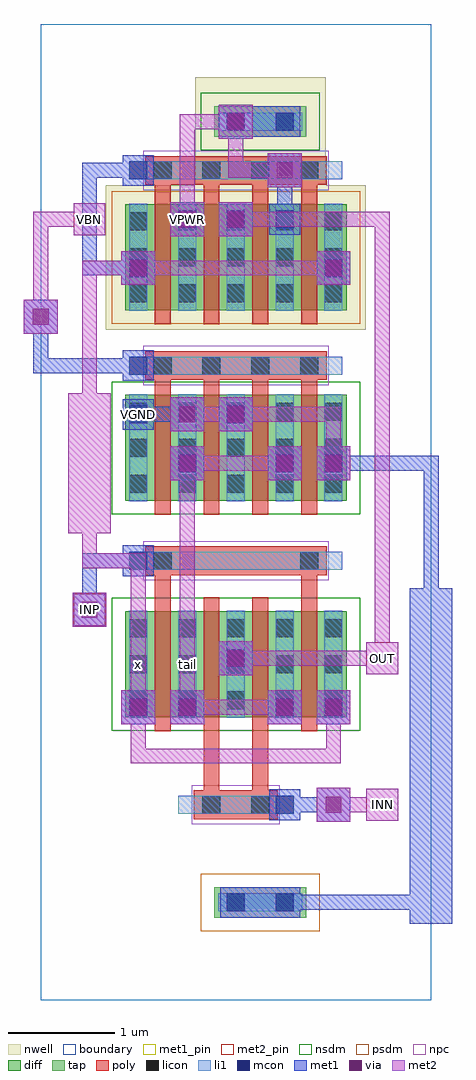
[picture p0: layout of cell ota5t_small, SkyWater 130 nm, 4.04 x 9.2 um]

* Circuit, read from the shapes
.subckt ota5t_small INN INP OUT VBN VGND VPWR tail x
XM1 tail INP x VGND sky130_fd_pr__nfet_01v8 w=1 l=0.15 m=2
XM2 tail VBN VGND VGND sky130_fd_pr__nfet_01v8 w=1 l=0.15 m=4
XM3 OUT INN tail VGND sky130_fd_pr__nfet_01v8 w=1 l=0.15 m=2
XM4 VPWR x x VPWR sky130_fd_pr__pfet_01v8 w=1 l=0.15 m=2
XM5 OUT x VPWR VPWR sky130_fd_pr__pfet_01v8 w=1 l=0.15 m=2
.ends

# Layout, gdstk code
import gdstk
lib = gdstk.Library(unit=1e-6, precision=1e-09)
def R(c, l, rs):  # rectangles x0, y0, x1, y1
    for r in rs: c.add(gdstk.rectangle(r[:2], r[2:], *l))
def A(c, l, x, y, w, h, nx, ny, dx, dy):  # array of equal rectangles
    R(c, l, [(x+i*dx, y+j*dy, x+i*dx+w, y+j*dy+h) for i in range(nx) for j in range(ny)])
nwell = (64, 20)
diff = (65, 20)
tap = (65, 44)
poly = (66, 20)
licon = (66, 44)
li1 = (67, 20)
mcon = (67, 44)
met1_pin = (68, 16)
met1 = (68, 20)
via = (68, 44)
met2_pin = (69, 16)
met2 = (69, 20)
nsdm = (93, 44)
psdm = (94, 20)
npc = (95, 20)
boundary = (235, 4)

ota5t_small = lib.new_cell('ota5t_small')
R(ota5t_small, nwell, [(0.615,6.32,3.065,7.68), (1.455,7.68,2.685,8.7)])
R(ota5t_small, diff, [(0.795,2.665,2.885,3.665), (0.795,4.705,2.885,5.705), (0.795,6.5,2.885,7.5)])
R(ota5t_small, tap, [(1.635,0.775,2.505,1.065), (1.635,8.135,2.505,8.425)])
A(ota5t_small, poly, 0.985, 4.005, 1.71, 0.27, 1, 3, 0, 1.84)
A(ota5t_small, poly, 1.075, 4.575, 0.15, 1.405, 4, 1, 0.46, 0)
A(ota5t_small, poly, 1.075, 6.37, 0.15, 1.45, 4, 1, 0.46, 0)
R(ota5t_small, poly, [(1.445,1.705,2.235,1.975), (1.535,1.84,1.685,3.795), (1.995,1.84,2.145,3.795), (1.075,2.535,1.225,4.14), (2.455,2.535,2.605,4.14)])
A(ota5t_small, licon, 0.835, 2.74, 0.17, 0.17, 5, 3, 0.46, 0.34)
A(ota5t_small, licon, 0.835, 4.78, 0.17, 0.17, 5, 3, 0.46, 0.34)
A(ota5t_small, licon, 1.065, 5.895, 0.17, 0.17, 4, 2, 0.46, 1.84)
A(ota5t_small, licon, 0.835, 6.575, 0.17, 0.17, 5, 3, 0.46, 0.34)
R(ota5t_small, licon, [(1.755,0.835,1.925,1.005), (2.215,0.835,2.385,1.005), (1.525,1.755,1.695,1.925), (1.985,1.755,2.155,1.925), (1.065,4.055,1.235,4.225), (2.445,4.055,2.615,4.225), (1.755,8.195,1.925,8.365), (2.215,8.195,2.385,8.365)])
A(ota5t_small, li1, 0.835, 2.66, 0.17, 1.01, 5, 2, 0.46, 2.04)
A(ota5t_small, li1, 0.835, 4.055, 2.01, 0.17, 1, 3, 0, 1.84)
A(ota5t_small, li1, 0.835, 6.495, 0.17, 1.01, 5, 1, 0.46, 0)
R(ota5t_small, li1, [(1.675,0.835,2.465,1.005), (1.295,1.755,2.385,1.925), (1.675,8.195,2.465,8.365)])
A(ota5t_small, mcon, 1.755, 0.835, 0.17, 0.17, 1, 3, 0, 2.3)
A(ota5t_small, mcon, 2.215, 0.835, 0.17, 0.17, 1, 3, 0, 0.92)
A(ota5t_small, mcon, 0.835, 2.675, 0.17, 0.17, 1, 3, 0, 1.38)
A(ota5t_small, mcon, 0.835, 5.895, 0.17, 0.17, 1, 3, 0, 0.92)
A(ota5t_small, mcon, 1.295, 7.275, 0.17, 0.17, 3, 1, 0.46, 0)
R(ota5t_small, mcon, [(1.295,2.675,1.465,2.845), (2.675,2.675,2.845,2.845), (1.295,4.975,1.465,5.145), (2.215,4.975,2.385,5.145), (2.675,4.975,2.845,5.145), (2.675,6.815,2.845,6.985), (1.755,8.195,1.925,8.365), (2.215,8.195,2.385,8.365)])
R(ota5t_small, met1_pin, [(0.775,5.375,1.065,5.665), (1.235,7.215,1.525,7.505)])
A(ota5t_small, met1, 0.775, 2.615, 0.29, 0.29, 1, 3, 0, 1.38)
A(ota5t_small, met1, 0.775, 5.835, 0.29, 0.29, 1, 3, 0, 0.92)
A(ota5t_small, met1, 1.235, 7.215, 0.29, 0.29, 3, 1, 0.46, 0)
R(ota5t_small, met1, [(3.48,0.72,3.88,3.88), (1.695,0.775,2.445,1.065), (2.23,0.85,2.37,0.99), (2.23,0.85,3.75,0.99), (2.6,1.68,2.92,2), (2.155,1.695,2.445,1.985), (2.23,1.77,2.83,1.91), (0.76,2.6,1.08,2.92), (1.22,2.6,1.54,2.92), (2.14,2.6,2.46,2.92), (2.6,2.6,2.92,2.92), (1.235,2.615,1.525,2.905), (2.155,2.615,2.445,2.905), (2.615,2.615,2.905,2.905), (1.68,3.06,2,3.38), (1.695,3.075,1.985,3.365), (0.3,3.52,0.62,3.84), (0.39,3.61,0.53,4.21), (3.61,3.61,3.75,5.13), (0.39,4.07,0.99,4.21), (1.22,4.9,1.54,5.22), (2.14,4.9,2.46,5.22), (2.6,4.9,2.92,5.22), (1.235,4.915,1.525,5.205), (2.155,4.915,2.445,5.205), (2.615,4.915,2.905,5.205), (2.69,4.99,3.75,5.13), (1.22,5.36,1.54,5.68), (1.68,5.36,2,5.68), (1.695,5.375,1.985,5.665), (0.85,5.45,1.45,5.59), (-0.07,5.91,0.07,6.51), (-0.07,5.91,0.99,6.05), (-0.16,6.28,0.16,6.6), (0.76,6.74,1.08,7.06), (2.6,6.74,2.92,7.06), (2.615,6.755,2.905,7.045), (0.39,6.83,0.99,6.97), (0.39,6.83,0.53,7.89), (1.22,7.2,1.54,7.52), (1.68,7.2,2,7.52), (2.23,7.29,2.37,7.89), (2.14,7.66,2.46,7.98), (0.39,7.75,0.99,7.89), (1.68,8.12,2,8.44), (1.695,8.135,2.445,8.425), (1.77,8.21,1.91,8.35)])
R(ota5t_small, via, [(2.685,1.765,2.835,1.915), (0.845,2.685,0.995,2.835), (1.305,2.685,1.455,2.835), (2.225,2.685,2.375,2.835), (2.685,2.685,2.835,2.835), (1.765,3.145,1.915,3.295), (0.385,3.605,0.535,3.755), (1.305,4.985,1.455,5.135), (2.225,4.985,2.375,5.135), (2.685,4.985,2.835,5.135), (1.305,5.445,1.455,5.595), (1.765,5.445,1.915,5.595), (-0.075,6.365,0.075,6.515), (0.845,6.825,0.995,6.975), (2.685,6.825,2.835,6.975), (1.305,7.285,1.455,7.435), (1.765,7.285,1.915,7.435), (2.225,7.745,2.375,7.895), (1.765,8.205,1.915,8.355)])
R(ota5t_small, met2_pin, [(3.07,1.69,3.37,1.99), (3.07,3.07,3.37,3.37), (0.31,3.53,0.61,3.83), (0.31,7.21,0.61,7.51)])
R(ota5t_small, met2, [(2.6,1.68,2.92,2), (3.07,1.69,3.37,1.99), (2.69,1.77,3.29,1.91), (3.15,1.77,3.29,1.91), (0.85,2.23,0.99,2.83), (0.85,2.23,2.83,2.37), (2.69,2.23,2.83,2.83), (0.76,2.6,1.08,2.92), (1.22,2.6,1.54,2.92), (2.14,2.6,2.46,2.92), (2.6,2.6,2.92,2.92), (0.85,2.69,0.99,4.21), (1.31,2.69,2.37,2.83), (1.31,2.69,1.45,5.13), (1.68,3.06,2,3.38), (3.07,3.07,3.37,3.37), (1.77,3.15,3.29,3.29), (3.15,3.15,3.29,3.29), (3.15,3.15,3.29,7.43), (0.3,3.52,0.62,3.84), (0.31,3.53,0.61,3.83), (0.39,3.61,0.53,3.75), (0.39,4.07,0.53,4.67), (0.39,4.07,0.99,4.21), (0.26,4.4,0.66,5.72), (1.22,4.9,1.54,5.22), (2.14,4.9,2.46,5.22), (2.6,4.9,2.92,5.22), (1.31,4.99,2.37,5.13), (2.69,4.99,2.83,5.59), (1.22,5.36,1.54,5.68), (1.68,5.36,2,5.68), (0.39,5.45,0.53,6.97), (1.31,5.45,1.91,5.59), (1.77,5.45,2.83,5.59), (-0.16,6.28,0.16,6.6), (-0.07,6.37,0.07,7.43), (0.76,6.74,1.08,7.06), (2.6,6.74,2.92,7.06), (0.39,6.83,0.99,6.97), (0.85,6.83,2.83,6.97), (1.22,7.2,1.54,7.52), (1.68,7.2,2,7.52), (0.31,7.21,0.61,7.51), (-0.07,7.29,0.53,7.43), (0.39,7.29,0.53,7.43), (1.31,7.29,1.45,8.35), (1.77,7.29,3.29,7.43), (2.14,7.66,2.46,7.98), (1.77,7.75,1.91,8.35), (1.77,7.75,2.37,7.89), (1.68,8.12,2,8.44), (1.31,8.21,1.91,8.35)])
R(ota5t_small, nsdm, [(0.67,2.54,3.01,3.79), (0.67,4.58,3.01,5.83), (1.51,8.01,2.63,8.55)])
R(ota5t_small, psdm, [(1.51,0.65,2.63,1.19), (0.67,6.375,3.01,7.625)])
A(ota5t_small, npc, 0.965, 3.955, 1.75, 0.37, 1, 3, 0, 1.84)
R(ota5t_small, npc, [(1.425,1.655,2.255,2.025)])
R(ota5t_small, boundary, [(0,0,3.68,9.2)])
ota5t_small.add(gdstk.Label('x', (0.92,3.165), layer=67, texttype=5))
ota5t_small.add(gdstk.Label('tail', (1.38,3.165), layer=67, texttype=5))
ota5t_small.add(gdstk.Label('VPWR', (1.38,7.36), layer=68, texttype=5))
ota5t_small.add(gdstk.Label('VGND', (0.92,5.52), layer=68, texttype=5))
ota5t_small.add(gdstk.Label('INP', (0.46,3.68), layer=69, texttype=5))
ota5t_small.add(gdstk.Label('INN', (3.22,1.84), layer=69, texttype=5))
ota5t_small.add(gdstk.Label('VBN', (0.46,7.36), layer=69, texttype=5))
ota5t_small.add(gdstk.Label('OUT', (3.22,3.22), layer=69, texttype=5))
ota5t_small.add(gdstk.Label('VPWR', (1.38,7.36), layer=68, texttype=16))
ota5t_small.add(gdstk.Label('VGND', (0.92,5.52), layer=68, texttype=16))
ota5t_small.add(gdstk.Label('INP', (0.46,3.68), layer=69, texttype=16))
ota5t_small.add(gdstk.Label('INN', (3.22,1.84), layer=69, texttype=16))
ota5t_small.add(gdstk.Label('VBN', (0.46,7.36), layer=69, texttype=16))
ota5t_small.add(gdstk.Label('OUT', (3.22,3.22), layer=69, texttype=16))

lib.write_gds('ota5t_small.gds')
